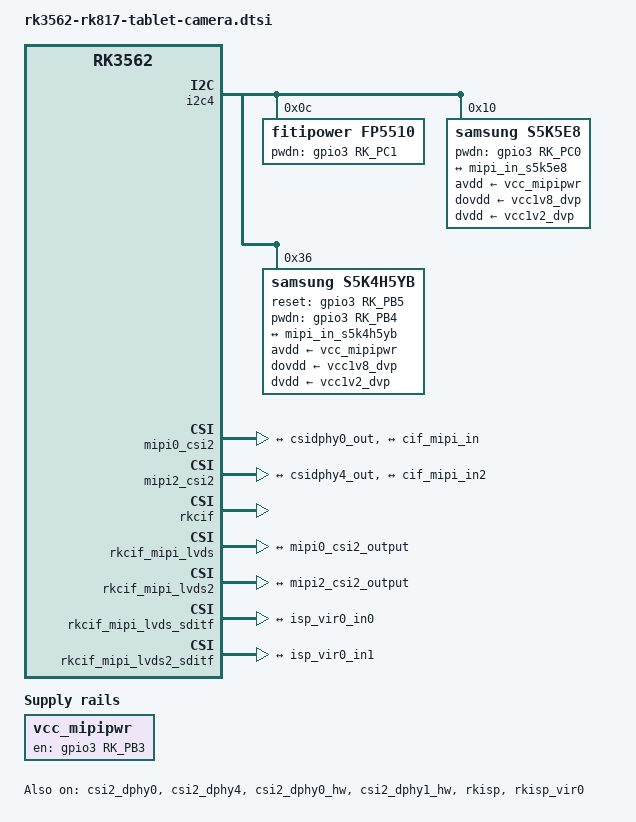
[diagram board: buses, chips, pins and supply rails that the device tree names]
// SPDX-License-Identifier: (GPL-2.0+ OR MIT)
/*
 * RK3562 RK817 tablet camera graph.
 *
 * Camera rails are mapped to match the Android DTB wiring:
 *   avdd  -> vcc_mipipwr
 *   dovdd -> vcc1v8_dvp
 *   dvdd  -> vcc1v2_dvp
 *
 * Keep Android candidate sensors in DT. Candidates without a matching
 * upstream driver in this kernel are kept disabled.
 *
 * DEBUG MODE:
 * Force camera rails to stay on at boot so we can verify sensor probe
 * behavior independently of runtime PM.
 */
/ {
	vcc_mipipwr: vcc-mipipwr-regulator {
		compatible = "regulator-fixed";
		gpio = <&gpio3 RK_PB3 GPIO_ACTIVE_HIGH>;
		pinctrl-names = "default";
		pinctrl-0 = <&mipicam_pwr>;
		regulator-name = "vcc_mipipwr";
		regulator-always-on;
		regulator-boot-on;
		enable-active-high;
	};
};

&csi2_dphy0 {
	status = "okay";

	ports {
		#address-cells = <1>;
		#size-cells = <0>;

		port@0 {
			reg = <0>;
			#address-cells = <1>;
			#size-cells = <0>;

			mipi_in_s5k4h5yb: endpoint@1 {
				reg = <1>;
				remote-endpoint = <&s5k4h5yb_out0>;
				data-lanes = <1 2>;
			};

			mipi_in_ov8858: endpoint@2 {
				reg = <2>;
				remote-endpoint = <&ov8858_out0>;
				data-lanes = <1 2 3 4>;
			};

			mipi_in_s5k4h5yc: endpoint@3 {
				reg = <3>;
				remote-endpoint = <&s5k4h5yc_out0>;
				data-lanes = <1 2 3 4>;
			};
		};

		port@1 {
			reg = <1>;
			#address-cells = <1>;
			#size-cells = <0>;

			csidphy0_out: endpoint@0 {
				reg = <0>;
				remote-endpoint = <&mipi0_csi2_input>;
				data-lanes = <1 2>;
			};
		};
	};
};

&csi2_dphy4 {
	status = "okay";

	ports {
		#address-cells = <1>;
		#size-cells = <0>;

		port@0 {
			reg = <0>;
			#address-cells = <1>;
			#size-cells = <0>;

			mipi_in_ov5648: endpoint@1 {
				reg = <1>;
				remote-endpoint = <&ov5648_out0>;
				data-lanes = <1 2>;
			};

			mipi_in_gc5035: endpoint@2 {
				reg = <2>;
				remote-endpoint = <&gc5035_out0>;
				data-lanes = <1 2>;
			};

			mipi_in_s5k5e8: endpoint@3 {
				reg = <3>;
				remote-endpoint = <&s5k5e8_out0>;
				data-lanes = <1 2>;
			};
		};

		port@1 {
			reg = <1>;
			#address-cells = <1>;
			#size-cells = <0>;

			csidphy4_out: endpoint@0 {
				reg = <0>;
				remote-endpoint = <&mipi2_csi2_input>;
				data-lanes = <1 2>;
			};
		};
	};
};

&i2c4 {
	status = "okay";
	pinctrl-names = "default";
	pinctrl-0 = <&i2c4m0_xfer>;

	fp5510: fp5510@c {
		compatible = "fitipower,fp5510";
		status = "okay";
		reg = <0x0c>;
		pwdn-gpios = <&gpio3 RK_PC1 GPIO_ACTIVE_HIGH>;
		rockchip,vcm-start-current = <8>;
		rockchip,vcm-rated-current = <72>;
		rockchip,vcm-step-mode = <13>;
		rockchip,camera-module-index = <0>;
		rockchip,camera-module-facing = "back";
	};

	dw9714: dw9714@c {
		compatible = "dongwoon,dw9714";
		status = "disabled";
		reg = <0x0c>;
		avdd-supply = <&vcc1v8_dvp>;
		xsd-gpios = <&gpio3 RK_PC1 GPIO_ACTIVE_HIGH>;
		rockchip,camera-module-index = <0>;
		rockchip,camera-module-facing = "back";
		rockchip,vcm-start-current = <5>;
		rockchip,vcm-rated-current = <90>;
		rockchip,vcm-step-mode = <5>;
	};

	cn3927v: cn3927v@c {
		compatible = "chipnext,cn3927v";
		status = "disabled";
		reg = <0x0c>;
		avdd-supply = <&vcc_mipipwr>;
		xsd-gpios = <&gpio3 RK_PC1 GPIO_ACTIVE_HIGH>;
		rockchip,vcm-max-current = <1023>;
		rockchip,vcm-start-current = <170>;
		rockchip,vcm-rated-current = <768>;
		rockchip,vcm-step-mode = <8>;
		rockchip,vcm-edlc-enable = <0>;
		rockchip,vcm-dlc-enable = <0>;
		rockchip,vcm-mclk = <1>;
		rockchip,vcm-t-src = <0>;
		rockchip,vcm-adcanced-mode = <1>;
		rockchip,vcm-sac-mode = <2>;
		rockchip,vcm-sac-time = <80>;
		rockchip,vcm-prescl = <1>;
		rockchip,camera-module-index = <0>;
		rockchip,camera-module-facing = "back";
	};

	/*
	 * Board diagnostics:
	 * - back sensor responds as S5K4H5YB on 0x36
	 * - front sensor responds as S5K5E8 on 0x10
	 * Keep legacy OV/GC nodes disabled to avoid probing the wrong chips.
	 */
	ov8858: ov8858@36 {
		status = "disabled";
		compatible = "ovti,ov8858";
		reg = <0x36>;
		clocks = <&cru CLK_CAM0_OUT2IO>;
		clock-names = "xvclk";
		reset-gpios = <&gpio3 RK_PB5 GPIO_ACTIVE_HIGH>;
		pwdn-gpios = <&gpio3 RK_PB4 GPIO_ACTIVE_HIGH>;
		avdd-supply = <&vcc_mipipwr>;
		dovdd-supply = <&vcc1v8_dvp>;
		dvdd-supply = <&vcc1v2_dvp>;
		rockchip,camera-module-index = <0>;
		rockchip,camera-module-facing = "back";
		rockchip,camera-module-name = "KYT-10203-v1";
		rockchip,camera-module-lens-name = "default";
		lens-focus = <&fp5510>;

		port {
			ov8858_out0: endpoint {
				remote-endpoint = <&mipi_in_ov8858>;
				data-lanes = <1 2 3 4>;
			};
		};
	};

	ov5648: ov5648@35 {
		status = "disabled";
		compatible = "ovti,ov5648";
		reg = <0x35>;
		clocks = <&cru CLK_CAM0_OUT2IO>;
		clock-names = "xvclk";
		pwdn-gpios = <&gpio3 RK_PC0 GPIO_ACTIVE_HIGH>;
		avdd-supply = <&vcc_mipipwr>;
		dovdd-supply = <&vcc1v8_dvp>;
		dvdd-supply = <&vcc1v2_dvp>;
		rockchip,camera-module-index = <1>;
		rockchip,camera-module-facing = "front";
		rockchip,camera-module-name = "HS5885-BNSM1018-V01";
		rockchip,camera-module-lens-name = "default";

		port {
			ov5648_out0: endpoint {
				remote-endpoint = <&mipi_in_ov5648>;
				data-lanes = <1 2>;
			};
		};
	};

	gc5035: gc5035@37 {
		compatible = "galaxycore,gc5035";
		status = "disabled";
		reg = <0x37>;
		clocks = <&cru CLK_CAM0_OUT2IO>;
		clock-names = "xvclk";
		pwdn-gpios = <&gpio3 RK_PC0 GPIO_ACTIVE_HIGH>;
		avdd-supply = <&vcc_mipipwr>;
		dovdd-supply = <&vcc1v8_dvp>;
		dvdd-supply = <&vcc1v2_dvp>;
		rockchip,camera-module-index = <1>;
		rockchip,camera-module-facing = "front";
		rockchip,camera-module-name = "KYT-8789-V10";
		rockchip,camera-module-lens-name = "default";

		port {
			gc5035_out0: endpoint {
				remote-endpoint = <&mipi_in_gc5035>;
				data-lanes = <1 2>;
			};
		};
	};

	s5k5e8: s5k5e8@10 {
		status = "okay";
		compatible = "samsung,s5k5e8";
		reg = <0x10>;
		clocks = <&cru CLK_CAM0_OUT2IO>;
		clock-names = "xvclk";
		pwdn-gpios = <&gpio3 RK_PC0 GPIO_ACTIVE_HIGH>;
		avdd-supply = <&vcc_mipipwr>;
		dovdd-supply = <&vcc1v8_dvp>;
		dvdd-supply = <&vcc1v2_dvp>;
		rockchip,camera-module-index = <1>;
		rockchip,camera-module-facing = "front";
		rockchip,camera-module-name = "KYT-11327-V1.0";
		rockchip,camera-module-lens-name = "default";

		port {
			s5k5e8_out0: endpoint {
				remote-endpoint = <&mipi_in_s5k5e8>;
				data-lanes = <1 2>;
			};
		};
	};

	s5k4h5yb: s5k4h5yb@36 {
		status = "okay";
		compatible = "samsung,s5k4h5yb";
		reg = <0x36>;
		clocks = <&cru CLK_CAM0_OUT2IO>;
		clock-names = "xvclk";
		reset-gpios = <&gpio3 RK_PB5 GPIO_ACTIVE_HIGH>;
		pwdn-gpios = <&gpio3 RK_PB4 GPIO_ACTIVE_HIGH>;
		avdd-supply = <&vcc_mipipwr>;
		dovdd-supply = <&vcc1v8_dvp>;
		dvdd-supply = <&vcc1v2_dvp>;
		rockchip,camera-module-index = <0>;
		rockchip,camera-module-facing = "back";
		rockchip,camera-module-name = "G1-T-B-s5k";
		rockchip,camera-module-lens-name = "XA-0806B";
		lens-focus = <&fp5510>;

		port {
			s5k4h5yb_out0: endpoint {
				remote-endpoint = <&mipi_in_s5k4h5yb>;
				data-lanes = <1 2>;
			};
		};
	};

	s5k4h5yc: s5k4h5yc@33 {
		status = "disabled";
		compatible = "samsung,s5k4h5yc";
		reg = <0x33>;
		clocks = <&cru CLK_CAM0_OUT2IO>;
		clock-names = "xvclk";
		reset-gpios = <&gpio3 RK_PB5 GPIO_ACTIVE_LOW>;
		pwdn-gpios = <&gpio3 RK_PB4 GPIO_ACTIVE_HIGH>;
		avdd-supply = <&vcc_mipipwr>;
		dovdd-supply = <&vcc1v8_dvp>;
		dvdd-supply = <&vcc1v2_dvp>;
		rockchip,camera-module-index = <0>;
		rockchip,camera-module-facing = "back";
		rockchip,camera-module-name = "G1-T-B-s5k";
		rockchip,camera-module-lens-name = "XA-0806B";
		lens-focus = <&fp5510>;

		port {
			s5k4h5yc_out0: endpoint {
				remote-endpoint = <&mipi_in_s5k4h5yc>;
				data-lanes = <1 2 3 4>;
			};
		};
	};
};

&csi2_dphy0_hw {
	status = "okay";
};

&csi2_dphy1_hw {
	status = "okay";
};

&mipi0_csi2 {
	status = "okay";

	ports {
		#address-cells = <1>;
		#size-cells = <0>;

		port@0 {
			reg = <0>;
			#address-cells = <1>;
			#size-cells = <0>;

			mipi0_csi2_input: endpoint@1 {
				reg = <1>;
				remote-endpoint = <&csidphy0_out>;
				data-lanes = <1 2>;
			};
		};

		port@1 {
			reg = <1>;
			#address-cells = <1>;
			#size-cells = <0>;

			mipi0_csi2_output: endpoint@0 {
				reg = <0>;
				remote-endpoint = <&cif_mipi_in>;
				data-lanes = <1 2>;
			};
		};
	};
};

&mipi2_csi2 {
	status = "okay";

	ports {
		#address-cells = <1>;
		#size-cells = <0>;

		port@0 {
			reg = <0>;
			#address-cells = <1>;
			#size-cells = <0>;

			mipi2_csi2_input: endpoint@1 {
				reg = <1>;
				remote-endpoint = <&csidphy4_out>;
				data-lanes = <1 2>;
			};
		};

		port@1 {
			reg = <1>;
			#address-cells = <1>;
			#size-cells = <0>;

			mipi2_csi2_output: endpoint@0 {
				reg = <0>;
				remote-endpoint = <&cif_mipi_in2>;
				data-lanes = <1 2>;
			};
		};
	};
};

&rkcif {
	status = "okay";
	pinctrl-names = "default";
	pinctrl-0 = <&camm0_clk0_out>;
};

&rkcif_mipi_lvds {
	status = "okay";

	port {
		cif_mipi_in: endpoint {
			remote-endpoint = <&mipi0_csi2_output>;
		};
	};
};

&rkcif_mipi_lvds2 {
	status = "okay";

	port {
		cif_mipi_in2: endpoint {
			remote-endpoint = <&mipi2_csi2_output>;
		};
	};
};

&rkcif_mipi_lvds_sditf {
	status = "okay";

	port {
		mipi_lvds_sditf: endpoint {
			remote-endpoint = <&isp_vir0_in0>;
		};
	};
};

&rkcif_mipi_lvds2_sditf {
	status = "okay";

	port {
		mipi_lvds2_sditf: endpoint {
			remote-endpoint = <&isp_vir0_in1>;
		};
	};
};

&rkcif_mmu {
	status = "okay";
};

&rkisp {
	status = "okay";
};

&rkisp_mmu {
	status = "okay";
};

&rkisp_vir0 {
	status = "okay";

	port {
		#address-cells = <1>;
		#size-cells = <0>;

		isp_vir0_in0: endpoint@0 {
			reg = <0>;
			remote-endpoint = <&mipi_lvds_sditf>;
		};
		isp_vir0_in1: endpoint@1 {
			reg = <1>;
			remote-endpoint = <&mipi_lvds2_sditf>;
		};
	};
};

&pinctrl {
	cam {
		mipicam_pwr: mipicam-pwr {
			rockchip,pins =
				/* camera power en */
				<3 RK_PB3 RK_FUNC_GPIO &pcfg_pull_none>;
		};
	};
};
